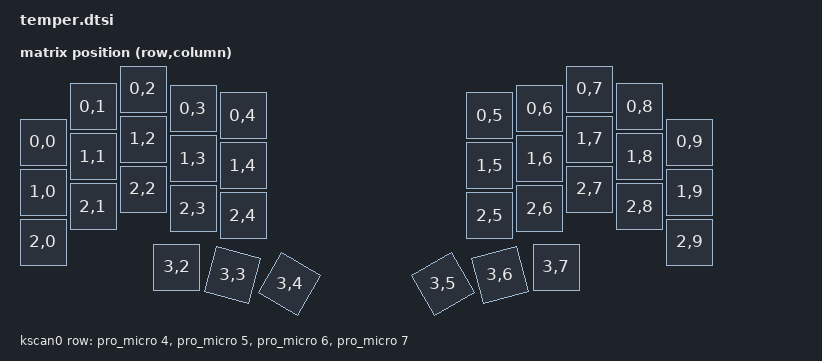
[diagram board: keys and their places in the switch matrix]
#include <physical_layouts.dtsi>
#include <dt-bindings/zmk/matrix_transform.h>

/ {
    chosen {
        zephyr,display = &oled;
        zmk,kscan = &kscan0;
        zmk,physical-layout = &physical_layout0;
    };

    matrix_transform0: keymap_transform_0 {
        compatible = "zmk,matrix-transform";
        columns = <10>;
        rows = <4>;
        map = <
RC(0,0) RC(0,1) RC(0,2) RC(0,3) RC(0,4)  RC(0,5) RC(0,6) RC(0,7) RC(0,8) RC(0,9)
RC(1,0) RC(1,1) RC(1,2) RC(1,3) RC(1,4)  RC(1,5) RC(1,6) RC(1,7) RC(1,8) RC(1,9)
RC(2,0) RC(2,1) RC(2,2) RC(2,3) RC(2,4)  RC(2,5) RC(2,6) RC(2,7) RC(2,8) RC(2,9)
                        RC(3,2) RC(3,3) RC(3,4)  RC(3,5) RC(3,6) RC(3,7)
        >;
    };
    
    kscan0: kscan {
        compatible = "zmk,kscan-gpio-matrix";
        label = "KSCAN";
        wakeup-source;
        diode-direction = "col2row";
        row-gpios
            = <&pro_micro 4 (GPIO_ACTIVE_HIGH | GPIO_PULL_DOWN)>
            , <&pro_micro 5 (GPIO_ACTIVE_HIGH | GPIO_PULL_DOWN)>
            , <&pro_micro 6 (GPIO_ACTIVE_HIGH | GPIO_PULL_DOWN)>
            , <&pro_micro 7 (GPIO_ACTIVE_HIGH | GPIO_PULL_DOWN)>
            ;

    };

    physical_layout0: physical_layout_0 {
        compatible = "zmk,physical-layout";
        display-name = "Default Layout";

        kscan = <&kscan0>;
        transform = <&matrix_transform0>;

        keys  //                     w   h    x    y     rot    rx    ry
            = <&key_physical_attrs 100 100    0  106       0     0     0>
            , <&key_physical_attrs 100 100  100   35       0     0     0>
            , <&key_physical_attrs 100 100  200    0       0     0     0>
            , <&key_physical_attrs 100 100  300   39       0     0     0>
            , <&key_physical_attrs 100 100  400   53       0     0     0>
            , <&key_physical_attrs 100 100  893   53       0     0     0>
            , <&key_physical_attrs 100 100  993   39       0     0     0>
            , <&key_physical_attrs 100 100 1093    0       0     0     0>
            , <&key_physical_attrs 100 100 1193   35       0     0     0>
            , <&key_physical_attrs 100 100 1293  106       0     0     0>
            , <&key_physical_attrs 100 100    0  206       0     0     0>
            , <&key_physical_attrs 100 100  100  135       0     0     0>
            , <&key_physical_attrs 100 100  200  100       0     0     0>
            , <&key_physical_attrs 100 100  300  139       0     0     0>
            , <&key_physical_attrs 100 100  400  153       0     0     0>
            , <&key_physical_attrs 100 100  893  153       0     0     0>
            , <&key_physical_attrs 100 100  993  139       0     0     0>
            , <&key_physical_attrs 100 100 1093  100       0     0     0>
            , <&key_physical_attrs 100 100 1193  135       0     0     0>
            , <&key_physical_attrs 100 100 1293  206       0     0     0>
            , <&key_physical_attrs 100 100    0  306       0     0     0>
            , <&key_physical_attrs 100 100  100  235       0     0     0>
            , <&key_physical_attrs 100 100  200  200       0     0     0>
            , <&key_physical_attrs 100 100  300  239       0     0     0>
            , <&key_physical_attrs 100 100  400  253       0     0     0>
            , <&key_physical_attrs 100 100  893  253       0     0     0>
            , <&key_physical_attrs 100 100  993  239       0     0     0>
            , <&key_physical_attrs 100 100 1093  200       0     0     0>
            , <&key_physical_attrs 100 100 1193  235       0     0     0>
            , <&key_physical_attrs 100 100 1293  306       0     0     0>
            , <&key_physical_attrs 100 100  267  356       0     0     0>
            , <&key_physical_attrs 100 100  379  372    1500   429   422>
            , <&key_physical_attrs 100 100  493  390    3000   543   440>
            , <&key_physical_attrs 100 100  800  390 (-3000)   850   440>
            , <&key_physical_attrs 100 100  914  372 (-1500)   964   422>
            , <&key_physical_attrs 100 100 1026  356       0     0     0>
            ;
    };
};

&pro_micro_i2c {
    status = "okay"; // Enables the I2C bus

    oled: ssd1306@3c {
        compatible = "solomon,ssd1306fb";
        reg = <0x3c>;
        label = "DISPLAY"; // Add a label for easier referencing/debugging
        width = <128>;
        height = <64>;
        segment-offset = <0>;
        page-offset = <0>;
        display-offset = <0>;
        multiplex-ratio = <63>; // Correct for 64-row display
        charge-pump = "internal";
        
        prechargep = <0x22>; // <-- CRITICAL MISSING LINE ADDED

        // The 'status = "okay";' line is generally not needed inside a device node
        // if it's already enabled by its parent or you have a separate Kconfig option for the driver.
        // It's often cleaner to omit it here.
    };
};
